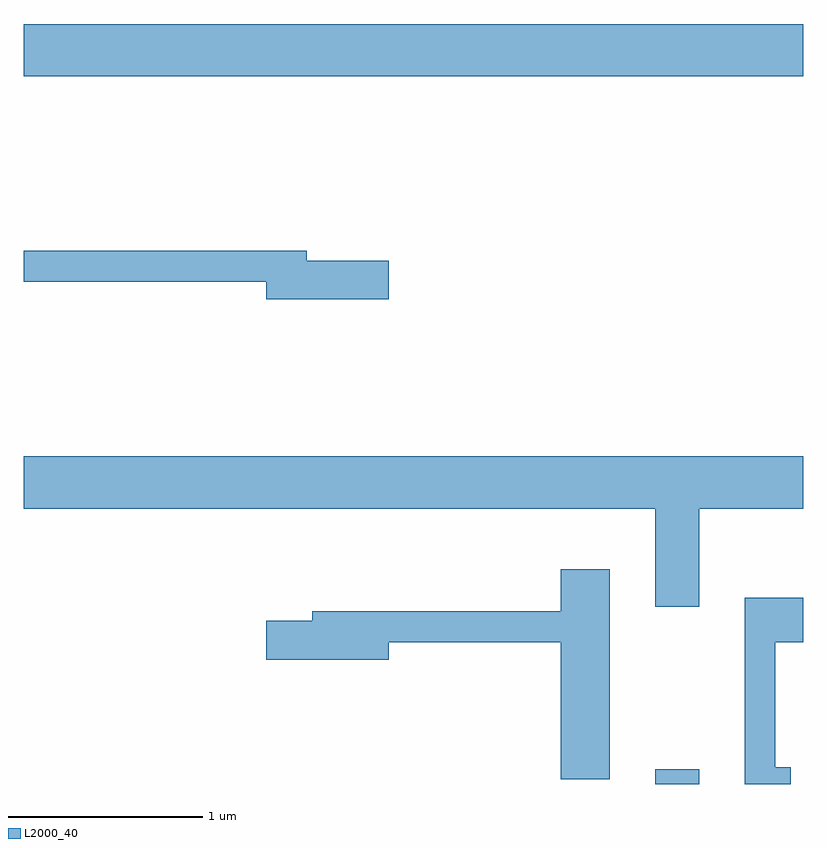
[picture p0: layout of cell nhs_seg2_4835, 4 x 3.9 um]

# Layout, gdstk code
import gdstk
lib = gdstk.Library(unit=1e-6, precision=1e-09)
def R(c, l, rs):  # rectangles x0, y0, x1, y1
    for r in rs: c.add(gdstk.rectangle(r[:2], r[2:], *l))
def P(c, l, *ps):  # polygons
    for p in ps: c.add(gdstk.Polygon(p, *l))
L2000_40 = (2000, 40)

nhs_seg2_4835 = lib.new_cell('nhs_seg2_4835')
R(nhs_seg2_4835, L2000_40, [(330.851,1035.802,331.079,1035.879), (327.611,1039.436,331.611,1039.704)])
P(nhs_seg2_4835, L2000_40, [(329.484,1038.489),(329.064,1038.489),(329.064,1038.539),(327.611,1038.539),(327.611,1038.381),(328.856,1038.381),(328.856,1038.291),(329.484,1038.291)],
  [(331.079,1037.216),(331.611,1037.216),(331.611,1037.484),(327.611,1037.484),(327.611,1037.216),(330.851,1037.216),(330.851,1036.711),(331.079,1036.711)],
  [(330.619,1036.904),(330.366,1036.904),(330.366,1036.689),(329.091,1036.689),(329.091,1036.639),(328.856,1036.639),(328.856,1036.441),(329.484,1036.441),(329.484,1036.531),(330.366,1036.531),(330.366,1035.826),(330.619,1035.826)],
  [(331.548,1035.889),(331.469,1035.889),(331.469,1036.531),(331.611,1036.531),(331.611,1036.759),(331.311,1036.759),(331.311,1035.802),(331.548,1035.802)])

lib.write_gds('nhs_seg2_4835.gds')
